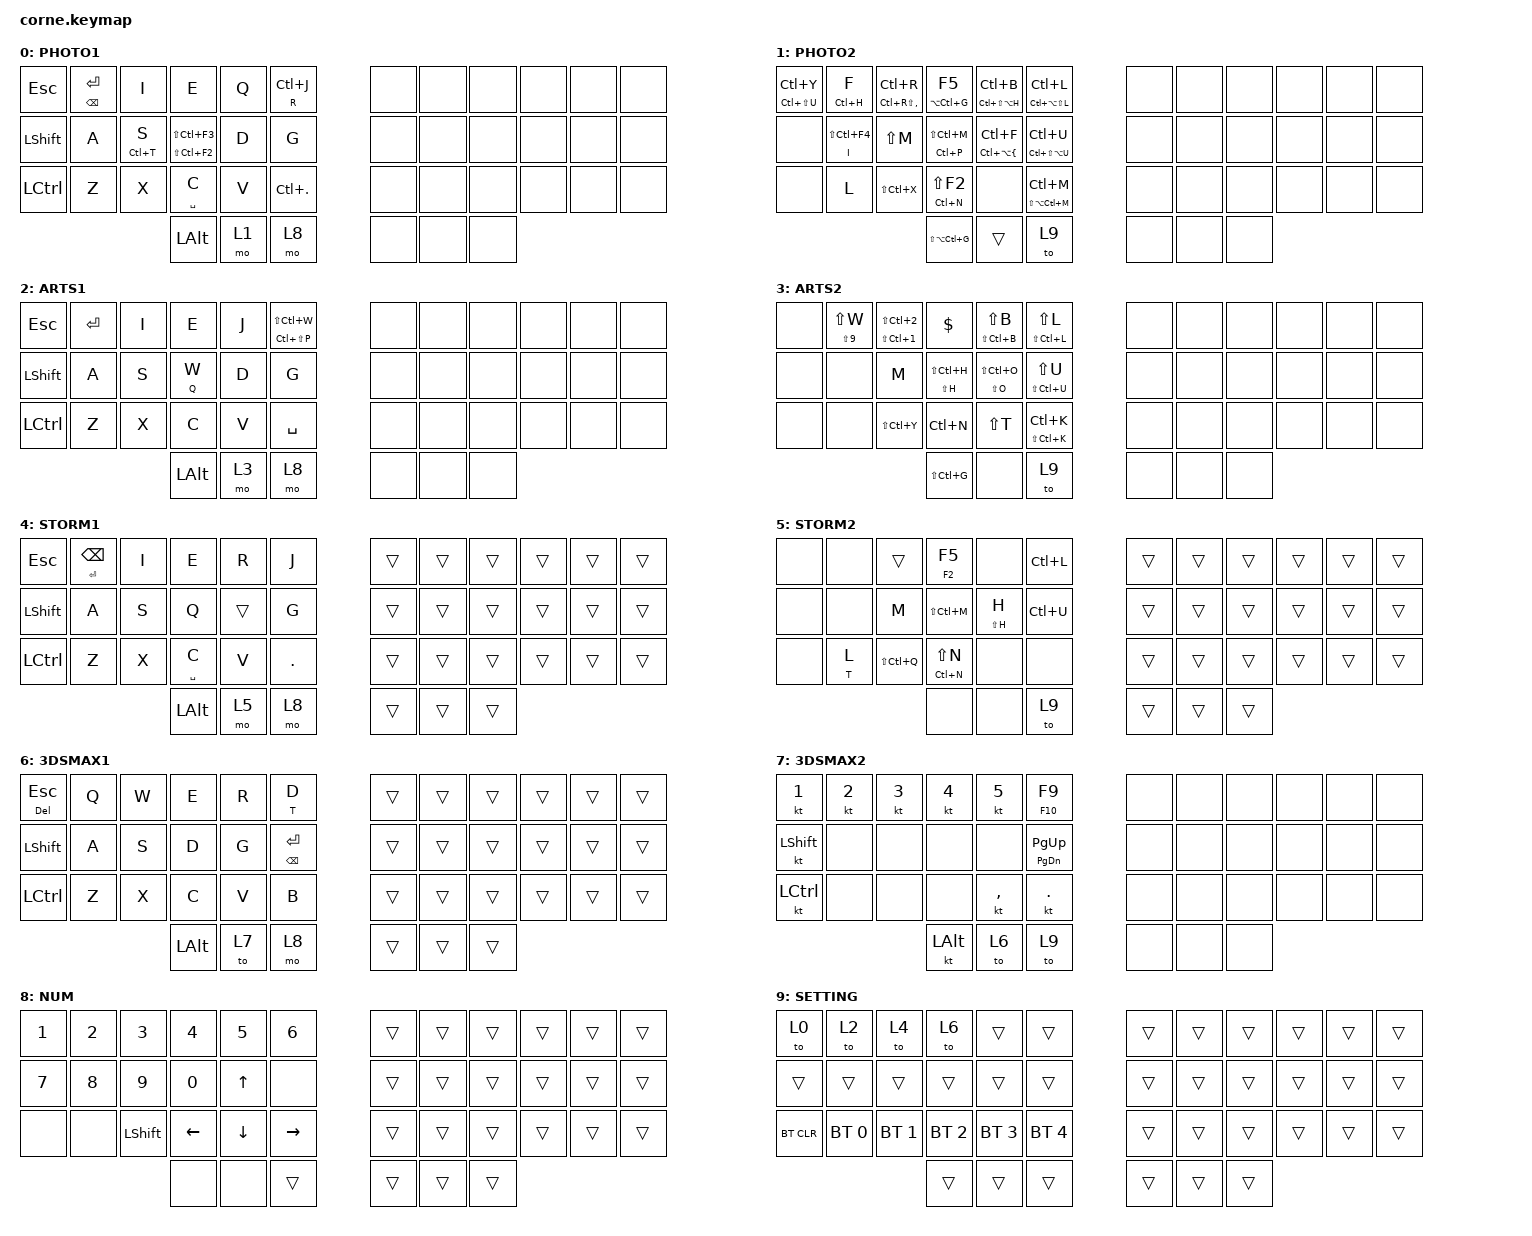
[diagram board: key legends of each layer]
/*
 * Copyright (c) 2020 The ZMK Contributors
 *
 * SPDX-License-Identifier: MIT
 */

#include <behaviors.dtsi>
#include <dt-bindings/zmk/bt.h>
#include <dt-bindings/zmk/keys.h>
#include <dt-bindings/zmk/keys.h>

&mt { tapping-term-ms = <170>; };

/ {
    macros {
        transformPS: transformPS {
            compatible = "zmk,behavior-macro";
            label = "PS_transform";
            #binding-cells = <0>;
            bindings =
                <&macro_press>,
                <&kp LCTRL>,
                <&macro_tap>,
                <&kp T>,
                <&macro_release>,
                <&kp LCTRL>;
        };

        horzFlip: horzFlip {
            compatible = "zmk,behavior-macro";
            label = "PS_horzFlip";
            #binding-cells = <0>;
            bindings =
                <&macro_press>,
                <&kp LCTRL>,
                <&macro_tap>,
                <&kp F>,
                <&macro_release>,
                <&kp LCTRL>;
        };

        canvasSize: canvasSize {
            compatible = "zmk,behavior-macro";
            label = "PS_canvasSize";
            #binding-cells = <0>;
            bindings =
                <&macro_press>,
                <&kp LALT &kp LCTRL>,
                <&macro_tap>,
                <&kp C>,
                <&macro_release>,
                <&kp LALT &kp LCTRL>;
        };

        imageSize: imageSize {
            compatible = "zmk,behavior-macro";
            label = "PS_imageSize";
            #binding-cells = <0>;
            bindings =
                <&macro_press>,
                <&kp LCTRL &kp LEFT_ALT>,
                <&macro_tap>,
                <&kp I>,
                <&macro_release>,
                <&kp LCTRL &kp LALT>;
        };

        smartObject: smartObject {
            compatible = "zmk,behavior-macro";
            label = "PS_smartObject";
            #binding-cells = <0>;
            bindings =
                <&macro_press>,
                <&kp LSHIFT &kp LCTRL>,
                <&macro_tap>,
                <&kp Q>,
                <&macro_release>,
                <&kp LEFT_SHIFT &kp LEFT_CONTROL>;
        };
    };

    combos {
        compatible = "zmk,combos";

        Photoshop_SaveTGA {
            bindings = <&kp LC(LS(F11))>;
            key-positions = <24 25 26>;
            layers = <0>;
            timeout-ms = <200>;
        };

        Photoshop_Mask_Selection {
            bindings = <&kp LS(LA(LC(P)))>;
            key-positions = <24 15>;
            timeout-ms = <200>;
            layers = <0>;
        };

        Test01 {
            bindings = <&kp A>;
            key-positions = <12 0>;
            timeout-ms = <200>;
            layers = <2>;
        };

        Test02 {
            bindings = <&kp B>;
            key-positions = <12 1>;
            timeout-ms = <200>;
            slow-release;
            layers = <2>;
        };

        Test03 {
            bindings = <&kp C>;
            key-positions = <12 2 0>;
            timeout-ms = <200>;
            layers = <2>;
        };
    };

    keymap {
        compatible = "zmk,keymap";

        Photoshop_01 {
            // -----------------------------------------------------------------------------------------
            // |  TAB |  Q  |  W  |  E  |  R  |  T  |   |  Y  |  U   |  I  |  O  |  P  | BKSP |
            // | CTRL |  A  |  S  |  D  |  F  |  G  |   |  H  |  J   |  K  |  L  |  ;  |  '   |
            // | SHFT |  Z  |  X  |  C  |  V  |  B  |   |  N  |  M   |  ,  |  .  |  /  | ESC  |
            //                    | GUI | LWR | SPC |   | ENT | RSE  | ALT |

            bindings = <
&kp ESC    &mt BACKSPACE ENTER  &kp I        &kp E                      &kp Q  &mt R LC(J)  &none  &none  &none  &none  &none  &none
&kp LSHFT  &kp A                &mt LC(T) S  &mt LS(LC(F2)) LS(LC(F3))  &kp D  &kp G        &none  &none  &none  &none  &none  &none
&kp LCTRL  &kp Z                &kp X        &mt SPACE C                &kp V  &kp LC(DOT)  &none  &none  &none  &none  &none  &none
                                             &kp LALT                   &mo 1  &mo 8        &none  &none  &none
            >;

            label = "PHOTO1";
        };

        Photoshop_02 {
            // -----------------------------------------------------------------------------------------
            // |  TAB |  1  |  2  |  3  |  4  |  5  |   |  6  |  7  |  8  |  9  |  0  | BKSP |
            // | BTCLR| BT1 | BT2 | BT3 | BT4 | BT5 |   | LFT | DWN |  UP | RGT |     |      |
            // | SHFT |     |     |     |     |     |   |     |     |     |     |     |      |
            //                    | GUI |     | SPC |   | ENT |     | ALT |

            bindings = <
&mt LC(LS(U)) LC(Y)  &mt LC(H) F       &mt LC(RS(COMMA)) LC(R)  &mt LA(LC(G)) F5     &mt LC(LS(LA(H))) LC(B)       &mt LC(LA(LS(L))) LC(L)  &none  &none  &none  &none  &none  &none
&none                &mt I LS(LC(F4))  &kp LS(M)                &mt LC(P) LS(LC(M))  &mt LC(LA(LEFT_BRACE)) LC(F)  &mt LC(LS(LA(U))) LC(U)  &none  &none  &none  &none  &none  &none
&none                &kp L             &kp LS(LC(X))            &mt LC(N) LS(F2)     &none                         &mt LS(LA(LC(M))) LC(M)  &none  &none  &none  &none  &none  &none
                                                                &kp LS(LA(LC(G)))    &trans                        &to 9                    &none  &none  &none
            >;

            label = "PHOTO2";
        };

        ArtStudio_01 {
            bindings = <
&kp ESC    &kp RET  &kp I  &kp E     &kp J  &mt LC(LS(P)) LS(LC(W))  &none  &none  &none  &none  &none  &none
&kp LSHFT  &kp A    &kp S  &mt Q W   &kp D  &kp G                    &none  &none  &none  &none  &none  &none
&kp LCTRL  &kp Z    &kp X  &kp C     &kp V  &kp SPACE                &none  &none  &none  &none  &none  &none
                           &kp LALT  &mo 3  &mo 8                    &none  &none  &none
            >;

            label = "ARTS1";
        };

        ArtStudio_02 {
            bindings = <
&none  &mt LS(N9) LS(W)  &mt LS(LC(NUMBER_1)) LS(LC(NUMBER_2))  &kp DLLR             &mt LS(LC(B)) LS(B)  &mt LS(LC(L)) LS(L)  &none  &none  &none  &none  &none  &none
&none  &none             &kp M                                  &mt LS(H) LS(LC(H))  &mt LS(O) LS(LC(O))  &mt LS(LC(U)) LS(U)  &none  &none  &none  &none  &none  &none
&none  &none             &kp LS(LC(Y))                          &kp LC(N)            &kp LS(T)            &mt LS(LC(K)) LC(K)  &none  &none  &none  &none  &none  &none
                                                                &kp LS(LC(G))        &none                &to 9                &none  &none  &none
            >;

            label = "ARTS2";
        };

        PaintStorm_01 {
            bindings = <
&kp ESC     &mt ENTER BACKSPACE  &kp I  &kp E         &kp R   &kp J    &trans  &trans  &trans  &trans  &trans  &trans
&kp LSHIFT  &kp A                &kp S  &kp Q         &trans  &kp G    &trans  &trans  &trans  &trans  &trans  &trans
&kp LCTRL   &kp Z                &kp X  &mt SPACE C   &kp V   &kp DOT  &trans  &trans  &trans  &trans  &trans  &trans
                                        &kp LEFT_ALT  &mo 5   &mo 8    &trans  &trans  &trans
            >;

            label = "STORM1";
        };

        PaintStorm_02 {
            bindings = <
&none  &none    &trans         &mt F2 F5        &none        &kp LC(L)  &trans  &trans  &trans  &trans  &trans  &trans
&none  &none    &kp M          &kp LS(LC(M))    &mt LS(H) H  &kp LC(U)  &trans  &trans  &trans  &trans  &trans  &trans
&none  &mt T L  &kp LS(LC(Q))  &mt LC(N) LS(N)  &none        &none      &trans  &trans  &trans  &trans  &trans  &trans
                               &none            &none        &to 9      &trans  &trans  &trans
            >;

            label = "STORM2";
        };

        Max_01 {
            bindings = <
&mt DELETE ESC  &kp Q  &kp W  &kp E         &kp R  &mt T D              &trans  &trans  &trans  &trans  &trans  &trans
&kp LSHFT       &kp A  &kp S  &kp D         &kp G  &mt BACKSPACE ENTER  &trans  &trans  &trans  &trans  &trans  &trans
&kp LCTRL       &kp Z  &kp X  &kp C         &kp V  &kp B                &trans  &trans  &trans  &trans  &trans  &trans
                              &kp LEFT_ALT  &to 7  &mo 8                &trans  &trans  &trans
            >;

            label = "3DSMAX1";
        };

        Max_02 {
            bindings = <
&kt NUMBER_1      &kt NUMBER_2  &kt NUMBER_3  &kt NUMBER_4  &kt N5     &mt F10 F9             &none  &none  &none  &none  &none  &none
&kt LEFT_SHIFT    &none         &none         &none         &none      &mt PAGE_DOWN PAGE_UP  &none  &none  &none  &none  &none  &none
&kt LEFT_CONTROL  &none         &none         &none         &kt COMMA  &kt DOT                &none  &none  &none  &none  &none  &none
                                              &kt LEFT_ALT  &to 6      &to 9                  &none  &none  &none
            >;

            label = "3DSMAX2";
        };

        NumbersAndArrows {
            bindings = <
&kp NUMBER_1  &kp NUMBER_2  &kp NUMBER_3    &kp NUMBER_4    &kp NUMBER_5    &kp NUMBER_6     &trans  &trans  &trans  &trans  &trans  &trans
&kp NUMBER_7  &kp NUMBER_8  &kp NUMBER_9    &kp NUMBER_0    &kp UP_ARROW    &none            &trans  &trans  &trans  &trans  &trans  &trans
&none         &none         &kp LEFT_SHIFT  &kp LEFT_ARROW  &kp DOWN_ARROW  &kp RIGHT_ARROW  &trans  &trans  &trans  &trans  &trans  &trans
                                            &none           &none           &trans           &trans  &trans  &trans
            >;

            label = "NUM";
        };

        Keyboard_Settings {
            bindings = <
&to 0       &to 2         &to 4         &to 6         &trans        &trans        &trans  &trans  &trans  &trans  &trans  &trans
&trans      &trans        &trans        &trans        &trans        &trans        &trans  &trans  &trans  &trans  &trans  &trans
&bt BT_CLR  &bt BT_SEL 0  &bt BT_SEL 1  &bt BT_SEL 2  &bt BT_SEL 3  &bt BT_SEL 4  &trans  &trans  &trans  &trans  &trans  &trans
                                        &trans        &trans        &trans        &trans  &trans  &trans
            >;

            label = "SETTING";
        };
    };
};
